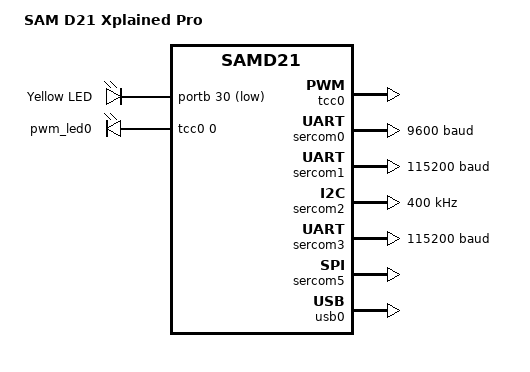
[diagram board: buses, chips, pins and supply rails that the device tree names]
/*
 * Copyright (c) 2018 Bryan O'Donoghue
 *
 * SPDX-License-Identifier: Apache-2.0
 */

/dts-v1/;
#include <freq.h>
#include <atmel/samd21.dtsi>
#include <atmel/samx2xx18.dtsi>
#include "atsamd21_xpro-pinctrl.dtsi"

/ {
	model = "SAM D21 Xplained Pro";
	compatible = "atsamd21,xpro", "atmel,samd21j18a", "atmel,samd21";

	chosen {
		zephyr,console = &cdc_acm_uart0;
		zephyr,shell-uart = &cdc_acm_uart0;
		zephyr,sram = &sram0;
		zephyr,flash = &flash0;
	};

	/* These aliases are provided for compatibility with samples */
	aliases {
		led0 = &led0;
		pwm-led0 = &pwm_led0;
		i2c-0 = &sercom2;
	};

	leds {
		compatible = "gpio-leds";
		led0: led_0 {
			gpios = <&portb 30 GPIO_ACTIVE_LOW>;
			label = "Yellow LED";
		};
	};

	pwmleds {
		compatible = "pwm-leds";
		pwm_led0: pwm_led_0 {
			pwms = <&tcc0 0 PWM_MSEC(20)>;
		};
	};

    kbv3_rows: kbv3_rows {
            compatible = "kbv3-keys";
        r0: r0 {
            gpios = <&portb 0 GPIO_ACTIVE_HIGH>;
        };
        r1: r1 {
            gpios = <&portb 1 GPIO_ACTIVE_HIGH>;
        };
        r2: r2 {
            gpios = <&portb 2 GPIO_ACTIVE_HIGH>;
        };
        r3: r3 {
            gpios = <&portb 3 GPIO_ACTIVE_HIGH>;
        };
    };
    kbv3_columns: kbv3_columns {
            compatible = "kbv3-keys";
        c0: c0 {
            gpios = <&portb 4 GPIO_PULL_DOWN>;
        };
        c1: c1 {
            gpios = <&portb 5 GPIO_PULL_DOWN>;
        };
        c2: c2 {
            gpios = <&portb 6 GPIO_PULL_DOWN>;
        };
        c3: c3 {
            gpios = <&portb 7 GPIO_PULL_DOWN>;
        };
        c4: c4 {
            gpios = <&portb 8 GPIO_PULL_DOWN>;
        };
        c5: c5 {
            gpios = <&portb 9 GPIO_PULL_DOWN>;
        };
        c6: c6 {
            gpios = <&portb 10 GPIO_PULL_DOWN>;
        };
        c7: c7 {
            gpios = <&portb 11 GPIO_PULL_DOWN>;
        };
        c8: c8 {
            gpios = <&portb 12 GPIO_PULL_DOWN>;
        };
        c9: c9 {
            gpios = <&portb 13 GPIO_PULL_DOWN>;
        };
        c10: c10 {
            gpios = <&portb 14 GPIO_PULL_DOWN>;
        };
        c11: c11 {
            gpios = <&portb 15 GPIO_PULL_DOWN>;
        };
    };
};

&cpu0 {
	clock-frequency = <DT_FREQ_M(48)>;
};

&tcc0 {
	status = "okay";
	compatible = "atmel,sam0-tcc-pwm";
	/* Gives a maximum period of 1.4s */
	prescaler = <4>;
	#pwm-cells = <2>;

	pinctrl-0 = <&pwm_default>;
	pinctrl-names = "default";
};

&sercom0 {
	status = "okay";
	compatible = "atmel,sam0-uart";
	current-speed = <9600>;
	rxpo = <3>;
	txpo = <1>;

	pinctrl-0 = <&sercom0_uart_default>;
	pinctrl-names = "default";
};

&sercom1 {
	status = "okay";
	compatible = "atmel,sam0-uart";
	current-speed = <115200>;
	rxpo = <3>;
	txpo = <0>;

	pinctrl-0 = <&sercom1_uart_default>;
	pinctrl-names = "default";
};

&sercom2 {
	status = "okay";
	compatible = "atmel,sam0-i2c";
	clock-frequency = <I2C_BITRATE_FAST>;
	#address-cells = <1>;
	#size-cells = <0>;

	pinctrl-0 = <&sercom2_i2c_default>;
	pinctrl-names = "default";
};

&sercom3 {
	status = "okay";
	compatible = "atmel,sam0-uart";
	current-speed = <115200>;
	rxpo = <1>;
	txpo = <0>;

	pinctrl-0 = <&sercom3_uart_default>;
	pinctrl-names = "default";
};

&sercom5 {
	status = "okay";
	compatible = "atmel,sam0-spi";
	dipo = <0>;
	dopo = <2>;
	#address-cells = <1>;
	#size-cells = <0>;

	pinctrl-0 = <&sercom5_spi_default>;
	pinctrl-names = "default";
};

zephyr_udc0: &usb0 {
	status = "okay";

	pinctrl-0 = <&usb_dc_default>;
	pinctrl-names = "default";
};

&zephyr_udc0 {
     cdc_acm_uart0: cdc_acm_uart0 {
             compatible = "zephyr,cdc-acm-uart";
             label = "CDC_ACM_0";
     };
};
